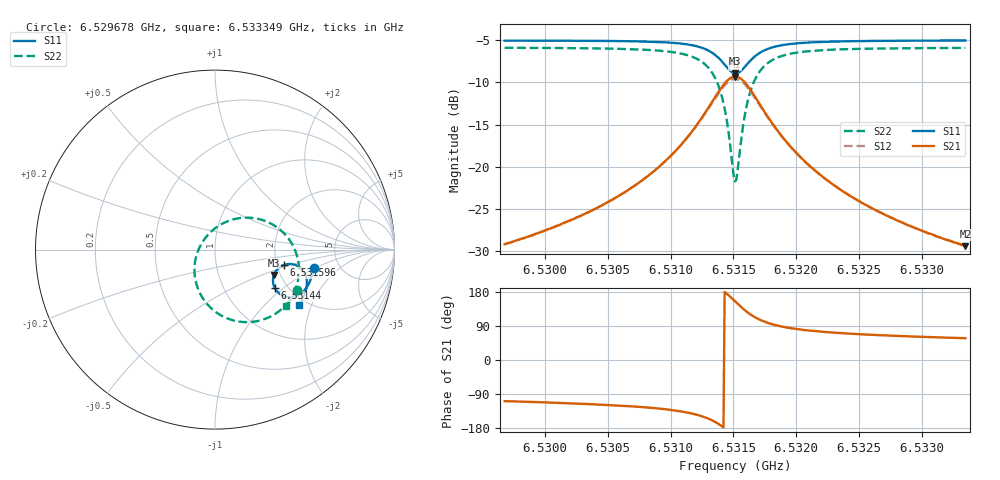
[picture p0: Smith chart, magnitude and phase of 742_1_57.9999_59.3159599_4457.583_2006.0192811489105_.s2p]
#  HZ  S  RI  R  50.00
! Rohde & Schwarz Vector Network Analyzer
! Rohde-Schwarz,ZNB20-2Port,1311601062101988,3.16
! Created: UTC 3/21/2024, 1:23:37 AM
! freq[Hz]  re:S11  im:S11  re:S21  im:S21  re:S12  im:S12  re:S22  im:S22
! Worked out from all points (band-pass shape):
!   401 points, 6.529678 GHz to 6.533349 GHz, reference 50 ohm
!   highest |S21| = -9.29 dB at 6.531513 GHz (marker M1); lowest = -29.4 dB at 6.533349 GHz (marker M2)
!   |S21| within 3 dB of the highest: 6.531331 GHz to 6.531698 GHz (366.9 kHz wide, 0.00562 % of centre)
!   lowest |S11| = -8.9 dB at 6.531513 GHz (marker M3), VSWR 2.11, Z = 92.5 - j30.1 ohm
!   |S11| at or under -10 dB: nowhere
!   |S22| runs from -21.7 to -5.9 dB; largest |S21 - S12| = 0.014
!   S11 on the Smith chart (normalised r, x): 6.529678 GHz: 3.22, -0.98; 6.53144 GHz: 1.72, -0.87; 6.531596 GHz: 2.19, -0.44; 6.533349 GHz: 1.81, -1.64
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6.5296784e9  0.5501 -0.1049  -0.011 -0.0329  -0.0117 -0.0328  0.4564 -0.2227
6.5302931e9  0.5362 -0.1569  -0.0223 -0.0464  -0.0234 -0.0459  0.4196 -0.2808
6.5306418e9  0.5224 -0.1905  -0.037 -0.0607  -0.0387 -0.0598  0.3811 -0.3231
6.5309079e9  0.5032 -0.2208  -0.0617 -0.0784  -0.0641 -0.0765  0.3259 -0.3639
6.5311281e9  0.4706 -0.2502  -0.11 -0.0983  -0.1131 -0.094  0.2295 -0.3996
6.5312841e9  0.4196 -0.2653  -0.1897 -0.0989  -0.1913 -0.0905  0.0861 -0.3897
6.5313759e9  0.3689 -0.2524  -0.267 -0.0595  -0.264 -0.0483  -0.0394 -0.3082
6.5314126e9  0.3471 -0.2345  -0.2987 -0.0226  -0.2923 -0.0113  -0.0855 -0.2401
6.5314401e9  0.3333 -0.2146  -0.3172 0.0155  -0.3079 0.0259  -0.1082 -0.1731
6.5314951e9  0.3237 -0.1609  -0.322 0.1119  -0.3087 0.1167  -0.0975 -0.0145
6.5315135e9  0.3281 -0.1419  -0.3109 0.1449  -0.2975 0.1472  -0.073 0.0371
6.5315318e9  0.3365 -0.1241  -0.2933 0.1751  -0.2804 0.1751  -0.0391 0.0827
6.5315685e9  0.3623 -0.0967  -0.2444 0.2207  -0.2341 0.2173  0.0487 0.1486
6.5315961e9  0.3856 -0.0849  -0.2026 0.2398  -0.1944 0.2352  0.121 0.1727
6.5316236e9  0.4087 -0.0802  -0.1617 0.2471  -0.1558 0.2422  0.1899 0.1779
6.5316603e9  0.4362 -0.0822  -0.1144 0.2434  -0.1106 0.2391  0.2682 0.1633
6.5317521e9  0.4807 -0.1064  -0.0387 0.2065  -0.0373 0.204  0.3901 0.0849
6.5318897e9  0.5059 -0.1462  0.00529 0.1506  0.00641 0.1498  0.4542 -0.0257
6.5321282e9  0.5118 -0.1936  0.0223 0.0955  0.0235 0.0952  0.4671 -0.1378
6.5324219e9  0.5049 -0.2316  0.0236 0.0635  0.0247 0.0632  0.453 -0.2094
6.532743e9  0.4933 -0.2623  0.0218 0.0455  0.0226 0.0451  0.4337 -0.2568
6.5333486e9  0.4685 -0.3093  0.0182 0.0284  0.0188 0.0282  0.3983 -0.3143
